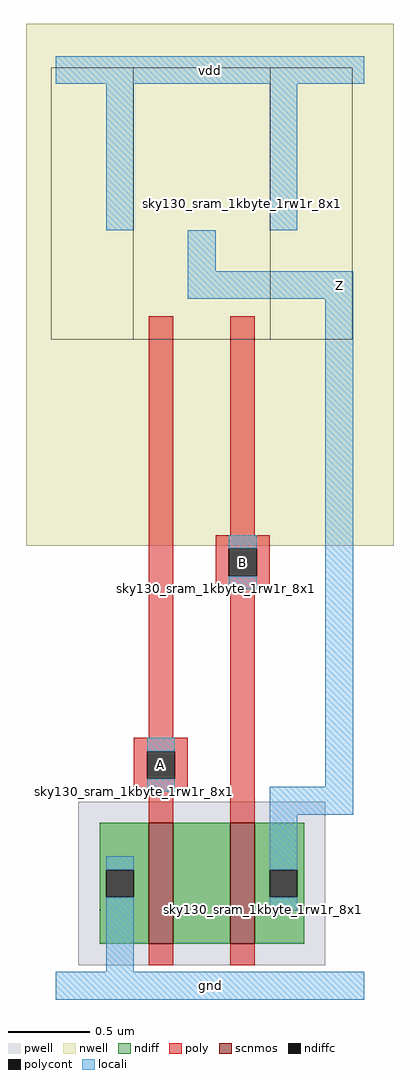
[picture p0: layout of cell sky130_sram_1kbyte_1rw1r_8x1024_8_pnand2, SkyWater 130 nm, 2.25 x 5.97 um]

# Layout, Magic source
magic
tech sky130A
magscale 1 2
<< nwell >>
rect -36 538 414 1177
<< poly >>
rect 114 303 144 819
rect 214 551 244 819
rect 196 535 262 551
rect 196 501 212 535
rect 246 501 262 535
rect 196 485 262 501
rect 96 287 162 303
rect 96 253 112 287
rect 146 253 162 287
rect 96 237 162 253
rect 114 225 144 237
rect 214 225 244 485
<< polycont >>
rect 212 501 246 535
rect 112 253 146 287
<< locali >>
rect 0 1103 378 1137
rect 62 924 96 1103
rect 262 924 296 1103
rect 162 874 196 924
rect 162 840 364 874
rect 212 535 246 551
rect 212 485 246 501
rect 112 287 146 303
rect 112 237 146 253
rect 330 243 364 840
rect 262 209 364 243
rect 262 158 296 209
rect 62 17 96 92
rect 0 -17 378 17
use sky130_sram_1kbyte_1rw1r_8x1024_8_contact_16  sky130_sram_1kbyte_1rw1r_8x1024_8_contact_16_0
transform 1 0 196 0 1 485
box 0 0 1 1
use sky130_sram_1kbyte_1rw1r_8x1024_8_contact_16  sky130_sram_1kbyte_1rw1r_8x1024_8_contact_16_1
transform 1 0 96 0 1 237
box 0 0 1 1
use sky130_sram_1kbyte_1rw1r_8x1024_8_nmos_m1_w0_740_sactive_dli  sky130_sram_1kbyte_1rw1r_8x1024_8_nmos_m1_w0_740_sactive_dli_0
transform 1 0 154 0 1 51
box -26 -26 176 174
use sky130_sram_1kbyte_1rw1r_8x1024_8_nmos_m1_w0_740_sli_dactive  sky130_sram_1kbyte_1rw1r_8x1024_8_nmos_m1_w0_740_sli_dactive_0
transform 1 0 54 0 1 51
box -26 -26 176 174
use sky130_sram_1kbyte_1rw1r_8x1024_8_pmos_m1_w1_120_sli_dli  sky130_sram_1kbyte_1rw1r_8x1024_8_pmos_m1_w1_120_sli_dli_0
transform 1 0 154 0 1 845
box -59 -54 209 278
use sky130_sram_1kbyte_1rw1r_8x1024_8_pmos_m1_w1_120_sli_dli  sky130_sram_1kbyte_1rw1r_8x1024_8_pmos_m1_w1_120_sli_dli_1
transform 1 0 54 0 1 845
box -59 -54 209 278
<< labels >>
rlabel locali s 347 857 347 857 4 Z
port 1 nsew
rlabel locali s 189 0 189 0 4 gnd
port 2 nsew
rlabel locali s 189 1120 189 1120 4 vdd
port 3 nsew
rlabel locali s 129 270 129 270 4 A
port 4 nsew
rlabel locali s 229 518 229 518 4 B
port 5 nsew
<< properties >>
string FIXED_BBOX 0 0 378 1120
string GDS_FILE $PDKPATH/libs.ref/sky130_sram_macros/gds/sky130_sram_1kbyte_1rw1r_8x1024_8.gds
string GDS_END 56192
string GDS_START 53672
<< end >>

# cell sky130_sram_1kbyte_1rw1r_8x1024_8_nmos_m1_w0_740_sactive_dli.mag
magic
tech sky130A
magscale 1 2
<< pwell >>
rect -26 -26 176 174
<< scnmos >>
rect 60 0 90 148
<< ndiff >>
rect 0 0 60 148
rect 90 91 150 148
rect 90 57 108 91
rect 142 57 150 91
rect 90 0 150 57
<< ndiffc >>
rect 108 57 142 91
<< poly >>
rect 60 148 90 174
rect 60 -26 90 0
<< locali >>
rect 108 91 142 107
rect 108 41 142 57
use sky130_sram_1kbyte_1rw1r_8x1024_8_contact_11  sky130_sram_1kbyte_1rw1r_8x1024_8_contact_11_0
transform 1 0 100 0 1 41
box 0 0 1 1
<< labels >>
rlabel locali s 125 74 125 74 4 D
port 1 nsew
rlabel poly s 75 74 75 74 4 G
port 2 nsew
rlabel mvpsubdiff s 25 74 25 74 4 S
<< properties >>
string FIXED_BBOX -25 -26 175 174
string GDS_FILE $PDKPATH/libs.ref/sky130_sram_macros/gds/sky130_sram_1kbyte_1rw1r_8x1024_8.gds
string GDS_END 24370
string GDS_START 23648
<< end >>

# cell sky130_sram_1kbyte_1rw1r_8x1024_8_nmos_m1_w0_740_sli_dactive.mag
magic
tech sky130A
magscale 1 2
<< pwell >>
rect -26 -26 176 174
<< scnmos >>
rect 60 0 90 148
<< ndiff >>
rect 0 91 60 148
rect 0 57 8 91
rect 42 57 60 91
rect 0 0 60 57
rect 90 0 150 148
<< ndiffc >>
rect 8 57 42 91
<< poly >>
rect 60 148 90 174
rect 60 -26 90 0
<< locali >>
rect 8 91 42 107
rect 8 41 42 57
use sky130_sram_1kbyte_1rw1r_8x1024_8_contact_11  sky130_sram_1kbyte_1rw1r_8x1024_8_contact_11_0
transform 1 0 0 0 1 41
box 0 0 1 1
<< labels >>
rlabel locali s 25 74 25 74 4 S
port 1 nsew
rlabel poly s 75 74 75 74 4 G
port 2 nsew
rlabel mvpsubdiff s 125 74 125 74 4 D
<< properties >>
string FIXED_BBOX -25 -26 175 174
string GDS_FILE $PDKPATH/libs.ref/sky130_sram_macros/gds/sky130_sram_1kbyte_1rw1r_8x1024_8.gds
string GDS_END 25184
string GDS_START 24462
<< end >>
